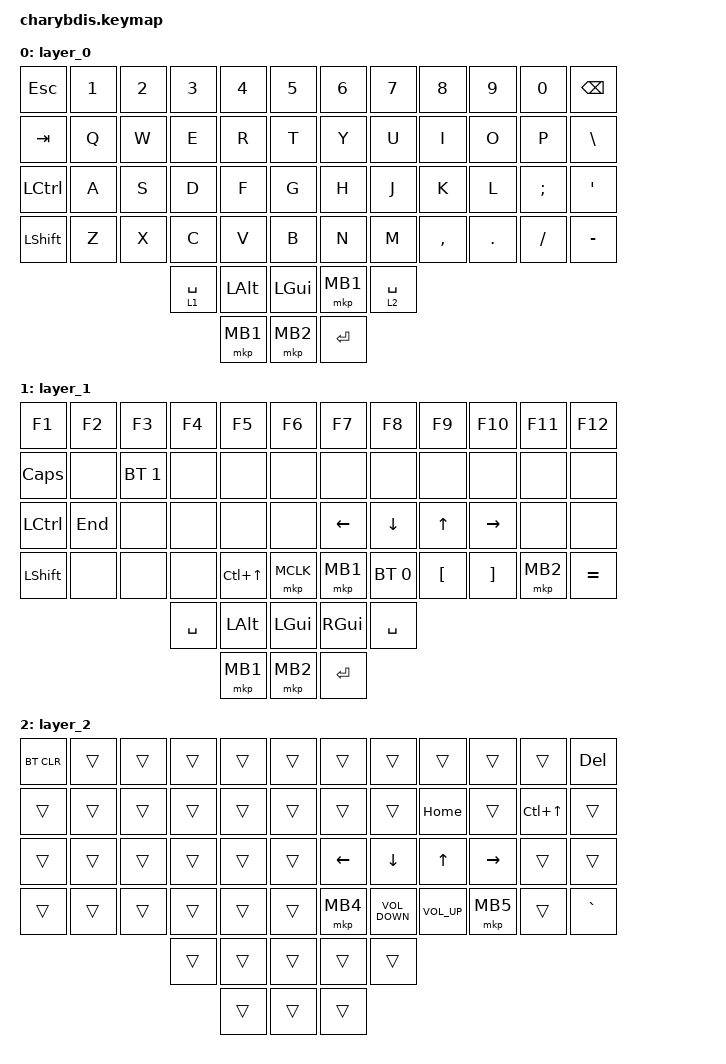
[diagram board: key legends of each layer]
#include <behaviors.dtsi>
#include <dt-bindings/zmk/bt.h>
#include <dt-bindings/zmk/keys.h>
#include <dt-bindings/zmk/pointing.h>
#include <dt-bindings/zmk/rgb.h>

&lt {
    tapping-term-ms = <200>;
    flavor = "balanced";
    quick-tap-ms = <150>;
};

/ {
    macros {
        To1_macro: To1_macro {
            compatible = "zmk,behavior-macro";
            label = "To1_macro";
            #binding-cells = <0>;
            bindings = <&rgb_ug RGB_EFF &rgb_ug RGB_COLOR_HSB(128,100,50) &to 1>;
        };

        To0_macro: To0_macro {
            compatible = "zmk,behavior-macro";
            label = "To0_macro";
            #binding-cells = <0>;
            bindings = <&rgb_ug RGB_EFR &to 0>;
        };

        To2_macro: To2_macro {
            compatible = "zmk,behavior-macro";
            label = "To2_macro";
            #binding-cells = <0>;
            bindings =
                <&to 2>,
                <&macro_wait_time 30>,
                <&rgb_ug RGB_COLOR_HSB(250,100,50)>;
        };
    };

    keymap {
        compatible = "zmk,keymap";

        layer_0 {
            bindings = <
&kp ESC         &kp N1  &kp N2  &kp N3       &kp N4        &kp N5          &kp N6     &kp N7       &kp N8     &kp N9      &kp N0    &kp BACKSPACE
&kp TAB         &kp Q   &kp W   &kp E        &kp R         &kp T           &kp Y      &kp U        &kp I      &kp O       &kp P     &kp BSLH
&kp LCTRL       &kp A   &kp S   &kp D        &kp F         &kp G           &kp H      &kp J        &kp K      &kp L       &kp SEMI  &kp SQT
&kp LEFT_SHIFT  &kp Z   &kp X   &kp C        &kp V         &kp B           &kp N      &kp M        &kp COMMA  &kp PERIOD  &kp FSLH  &kp MINUS
                                &lt 1 SPACE  &kp LEFT_ALT  &kp LEFT_GUI    &mkp MB1   &lt 2 SPACE
                                             &mkp MB1      &mkp MB2        &kp ENTER
            >;
        };

        layer_1 {
            bindings = <
&kp F1          &kp F2   &kp F3        &kp F4     &kp F5            &kp F6          &kp F7         &kp F8        &kp F9            &kp F10            &kp F11   &kp F12
&kp CAPS        &none    &bt BT_SEL 1  &none      &none             &none           &none          &none         &none             &none              &none     &none
&kp LCTRL       &kp END  &none         &none      &none             &none           &kp LEFT       &kp DOWN      &kp UP            &kp RIGHT          &none     &none
&kp LEFT_SHIFT  &none    &none         &none      &kp LC(UP_ARROW)  &mkp MCLK       &mkp MB1       &bt BT_SEL 0  &kp LEFT_BRACKET  &kp RIGHT_BRACKET  &mkp MB2  &kp EQUAL
                                       &kp SPACE  &kp LEFT_ALT      &kp LEFT_GUI    &kp RIGHT_GUI  &kp SPACE
                                                  &mkp MB1          &mkp MB2        &kp ENTER
            >;
        };

        layer_2 {
            bindings = <
&bt BT_CLR  &trans  &trans  &trans  &trans  &trans    &trans    &trans             &trans           &trans     &trans            &kp DELETE
&trans      &trans  &trans  &trans  &trans  &trans    &trans    &trans             &kp HOME         &trans     &kp LC(UP_ARROW)  &trans
&trans      &trans  &trans  &trans  &trans  &trans    &kp LEFT  &kp DOWN           &kp UP           &kp RIGHT  &trans            &trans
&trans      &trans  &trans  &trans  &trans  &trans    &mkp MB4  &kp C_VOLUME_DOWN  &kp C_VOLUME_UP  &mkp MB5   &trans            &kp GRAVE
                            &trans  &trans  &trans    &trans    &trans
                                    &trans  &trans    &trans
            >;
        };

        /* layer_2 {
            bindings = <
&none  &none   &none    &none   &none         &none         &kp N1         &none         &none     &none  &none   &to 0
&none  &none   &none    &none   &none         &none         &none         &none          &rgb_ug RGB_BRD &rgb_ug RGB_BRI  &rgb_ug RGB_EFF   &rgb_ug RGB_TOG
&none  &none   &none    &none   &none         &none         &none         &mkp LCLK     &mkp RCLK  &none  &none   &none
&none  &none   &none    &none   &bt BT_NXT  &bt BT_CLR    &none         &none         &none     &none  &none   &none
                                   &none         &none         &none         &none         &none
                                                 &none         &none         &none
            >;
       
            
        };

       Mouse {
            bindings = <
&none        &none         &none         &none         &none      &none         &none       &none      &none         &none         &none         &none
&none        &bt BT_SEL 0  &bt BT_SEL 1  &bt BT_SEL 3  &none      &bt BT_CLR    &bt BT_CLR  &none      &bt BT_SEL 2  &bt BT_SEL 1  &bt BT_SEL 0  &none
&none        &trans        &trans        &mkp MCLK     &trans     &none         &none       &trans     &mkp MCLK     &trans        &trans        &none
&bootloader  &trans        &mkp RCLK     &mo 4         &mkp LCLK  &mo 5         &mo 5       &mkp LCLK  &mo 4         &mkp RCLK     &trans        &bootloader
                                         &mo 5         &mkp LCLK  &mkp RCLK     &mkp RCLK   &mkp LCLK
                                                       &none      &trans        &trans
            >;

            
        };

        layer_4 {
            bindings = <
&trans  &trans  &trans     &trans     &trans     &trans       &trans     &trans     &trans     &trans     &trans  &trans
&trans  &trans  &trans     &trans     &trans     &trans       &trans     &trans     &trans     &trans     &trans  &trans
&trans  &trans  &trans     &mkp MCLK  &trans     &trans       &trans     &trans     &mkp MCLK  &trans     &trans  &trans
&trans  &trans  &mkp RCLK  &trans     &mkp LCLK  &trans       &trans     &mkp LCLK  &trans     &mkp RCLK  &trans  &trans
                           &trans     &mkp LCLK  &mkp RCLK    &mkp RCLK  &mkp LCLK
                                      &trans     &trans       &trans
            >;
                
                
               
        };

        layer_5 {
            bindings = <
&trans  &trans  &trans     &trans     &trans     &trans       &trans     &trans     &trans     &trans     &trans  &trans
&trans  &trans  &trans     &trans     &trans     &trans       &trans     &trans     &trans     &trans     &trans  &trans
&trans  &trans  &trans     &mkp MCLK  &trans     &trans       &trans     &trans     &mkp MCLK  &trans     &trans  &trans
&trans  &trans  &mkp RCLK  &trans     &mkp LCLK  &trans       &trans     &mkp LCLK  &trans     &mkp RCLK  &trans  &trans
                           &trans     &mkp LCLK  &mkp RCLK    &mkp RCLK  &mkp LCLK
                                      &trans     &trans       &trans
            >;
                
                
        };*/
    };
};
